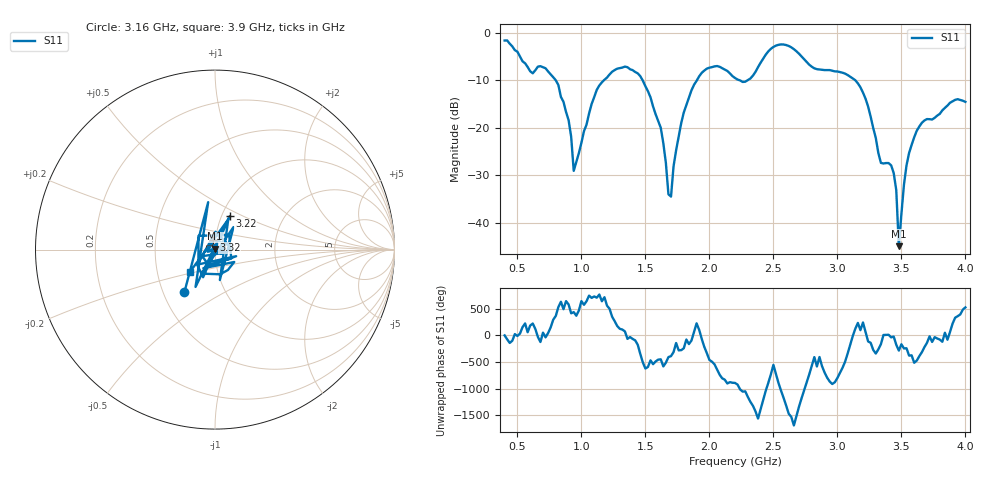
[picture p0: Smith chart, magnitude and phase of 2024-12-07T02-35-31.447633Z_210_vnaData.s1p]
!Created with skrf (http://scikit-rf.org).
# Hz S RI R 50.0
!freq ReS11 ImS11
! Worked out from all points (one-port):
!   181 points, 400 MHz to 4 GHz, reference 50 ohm
!   lowest |S11| = -44.9 dB at 3.48 GHz (marker M1), VSWR 1.01, Z = 50.1 + j0.555 ohm
!   |S11| at or under -10 dB: 799.9 MHz to 1.176 GHz (376 MHz wide, 38.1 % of centre); 1.478 GHz to 1.902 GHz (424 MHz wide, 25.1 % of centre); 3.14 GHz to end of sweep (the widest 3 of 4)
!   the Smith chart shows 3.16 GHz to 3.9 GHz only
!   S11 on the Smith chart (normalised r, x): 3.16 GHz: 0.64, -0.33; 3.22 GHz: 1.09, +0.42; 3.32 GHz: 0.98, +0.11; 3.9 GHz: 0.73, -0.19
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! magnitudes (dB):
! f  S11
! 400 MHz  -1.6
! 620 MHz  -8.5
! 720 MHz  -7.5
! 860 MHz  -14.5
! 920 MHz  -21.9
! 940 MHz  -29.0
! 1.12 GHz  -12.0
! 1.3 GHz  -7.5
! 1.54 GHz  -13.6
! 1.62 GHz  -20.0
! 1.68 GHz  -34.0
! 1.7 GHz  -34.4
! 1.76 GHz  -21.8
! 1.94 GHz  -8.4
! 2.2 GHz  -9.5
! 2.66 GHz  -3.5
! 3.1 GHz  -9.2
! 3.16 GHz  -10.6
! 3.22 GHz  -13.9
! 3.32 GHz  -25.3
! 3.44 GHz  -29.5
! 3.46 GHz  -33.1
! 3.48 GHz  -44.9
! 3.52 GHz  -32.0
! 3.56 GHz  -25.3
! 3.66 GHz  -18.9
! 3.9 GHz  -14.4
! 4 GHz  -14.5
